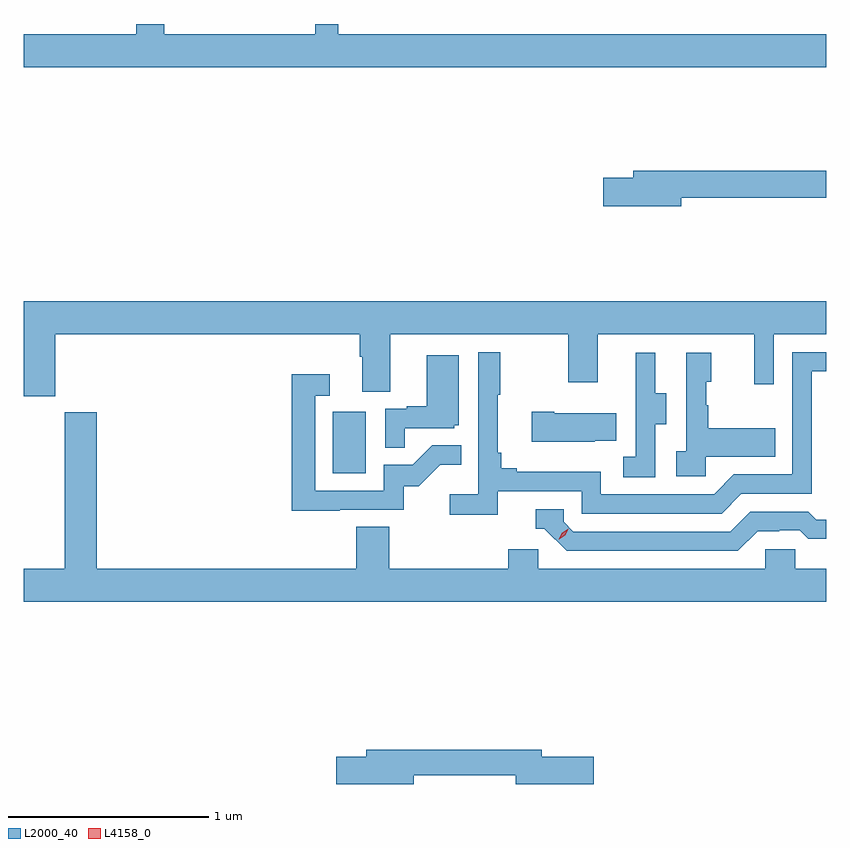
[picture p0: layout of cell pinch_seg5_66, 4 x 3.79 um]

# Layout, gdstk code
import gdstk
lib = gdstk.Library(unit=1e-6, precision=1e-09)
def R(c, l, rs):  # rectangles x0, y0, x1, y1
    for r in rs: c.add(gdstk.rectangle(r[:2], r[2:], *l))
def P(c, l, *ps):  # polygons
    for p in ps: c.add(gdstk.Polygon(p, *l))
L2000_40 = (2000, 40)
L4158_0 = (4158, 0)

pinch_seg5_66 = lib.new_cell('pinch_seg5_66')
R(pinch_seg5_66, L2000_40, [(1058.426,901.356,1058.59,901.663)])
P(pinch_seg5_66, L2000_40, [(1060.885,903.544),(1058.453,903.544),(1058.453,903.595),(1058.337,903.595),(1058.337,903.544),(1057.585,903.544),(1057.585,903.595),(1057.446,903.595),(1057.446,903.544),(1056.885,903.544),(1056.885,903.38),(1060.885,903.38)],
  [(1060.162,902.728),(1060.885,902.728),(1060.885,902.864),(1059.923,902.864),(1059.923,902.828),(1059.774,902.828),(1059.774,902.686),(1060.162,902.686)],
  [(1057.042,902.048),(1058.561,902.048),(1058.561,901.936),(1058.573,901.936),(1058.573,901.762),(1058.713,901.762),(1058.713,902.048),(1059.598,902.048),(1059.598,901.809),(1059.745,901.809),(1059.745,902.048),(1060.526,902.048),(1060.526,901.8),(1060.623,901.8),(1060.623,902.048),(1060.885,902.048),(1060.885,902.212),(1056.885,902.212),(1056.885,901.739),(1057.042,901.739)],
  [(1059.248,901.266),(1059.666,901.266),(1059.666,901.155),(1060.363,901.155),(1060.462,901.254),(1060.812,901.254),(1060.812,901.863),(1060.885,901.863),(1060.885,901.959),(1060.716,901.959),(1060.716,901.35),(1060.425,901.35),(1060.326,901.251),(1059.762,901.251),(1059.762,901.363),(1059.343,901.363),(1059.343,901.382),(1059.266,901.382),(1059.266,901.459),(1059.247,901.459),(1059.247,901.747),(1059.259,901.747),(1059.259,901.96),(1059.15,901.96),(1059.15,901.252),(1059.009,901.252),(1059.009,901.15),(1059.248,901.15)],
  [(1060.032,901.6),(1060.087,901.6),(1060.087,901.755),(1060.033,901.755),(1060.033,901.957),(1059.935,901.957),(1059.935,901.743),(1059.936,901.743),(1059.936,901.439),(1059.873,901.439),(1059.873,901.336),(1060.032,901.336)],
  [(1060.284,901.439),(1060.631,901.439),(1060.631,901.579),(1060.297,901.579),(1060.297,901.694),(1060.287,901.694),(1060.287,901.812),(1060.312,901.812),(1060.312,901.957),(1060.188,901.957),(1060.188,901.466),(1060.137,901.466),(1060.137,901.341),(1060.284,901.341)],
  [(1058.783,901.581),(1059.03,901.581),(1059.03,901.596),(1059.052,901.596),(1059.052,901.945),(1058.894,901.945),(1058.894,901.69),(1058.795,901.69),(1058.795,901.677),(1058.688,901.677),(1058.688,901.483),(1058.783,901.483)],
  [(1058.459,901.173),(1058.778,901.173),(1058.778,901.29),(1058.854,901.29),(1058.961,901.397),(1059.065,901.397),(1059.065,901.496),(1058.921,901.496),(1058.823,901.398),(1058.679,901.398),(1058.679,901.269),(1058.337,901.269),(1058.337,901.743),(1058.41,901.743),(1058.41,901.849),(1058.221,901.849),(1058.221,901.168),(1058.459,901.168)],
  [(1059.731,901.517),(1059.839,901.517),(1059.839,901.654),(1059.529,901.654),(1059.529,901.662),(1059.417,901.662),(1059.417,901.514),(1059.731,901.514)],
  [(1060.885,900.88),(1060.731,900.88),(1060.731,900.978),(1060.581,900.978),(1060.581,900.88),(1059.45,900.88),(1059.45,900.978),(1059.299,900.978),(1059.299,900.88),(1058.708,900.88),(1058.708,901.088),(1058.543,901.088),(1058.543,900.88),(1057.25,900.88),(1057.25,901.66),(1057.09,901.66),(1057.09,900.88),(1056.885,900.88),(1056.885,900.716),(1060.885,900.716)],
  [(1060.543,901.068),(1060.65,901.068),(1060.65,901.071),(1060.753,901.071),(1060.795,901.029),(1060.885,901.029),(1060.885,901.125),(1060.834,901.125),(1060.795,901.164),(1060.506,901.164),(1060.407,901.065),(1059.624,901.065),(1059.576,901.113),(1059.576,901.176),(1059.437,901.176),(1059.437,901.08),(1059.48,901.08),(1059.591,900.969),(1060.444,900.969)],
  [(1058.83,899.85),(1059.338,899.85),(1059.338,899.807),(1059.727,899.807),(1059.727,899.942),(1059.466,899.942),(1059.466,899.978),(1058.591,899.978),(1058.591,899.942),(1058.442,899.942),(1058.442,899.807),(1058.83,899.807)])
P(pinch_seg5_66, L4158_0, [(1059.552,901.027),(1059.552,901.028),(1059.569,901.06),(1059.599,901.079),(1059.6,901.079),(1059.6,901.079),(1059.583,901.047),(1059.553,901.027)])

lib.write_gds('pinch_seg5_66.gds')
